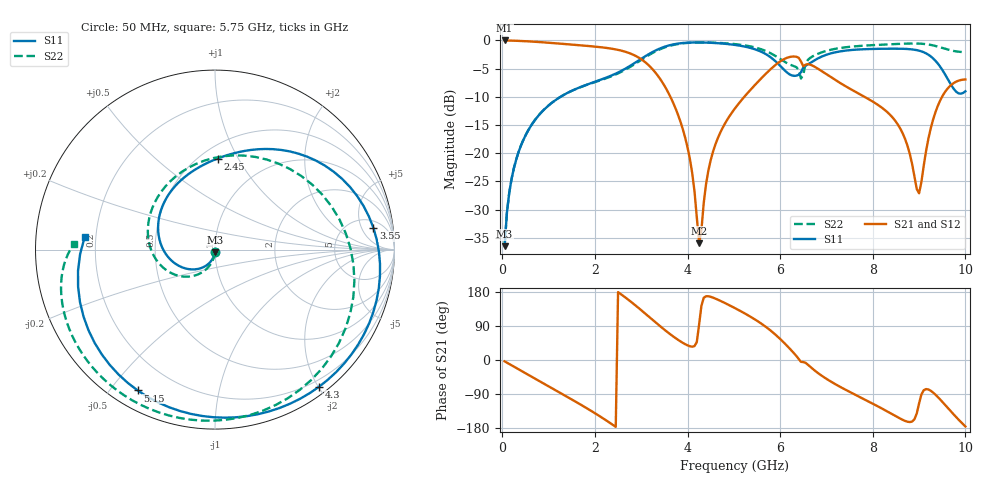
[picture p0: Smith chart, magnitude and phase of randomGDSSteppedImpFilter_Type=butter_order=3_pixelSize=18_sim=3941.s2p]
! freq	dB(S11)	phase(S11)	dB(S12)	phase(S12)
!  dB(S21)	phase(S21)	dB(S22)	phase(S22)
!S-par simulation data
#  GHz  S  DB  R 50
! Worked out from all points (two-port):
!   200 points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, 50 MHz to 10 GHz, reference 50 ohm
!   highest |S21| = -0.01 dB at 50 MHz (marker M1); lowest = -36.0 dB at 4.25 GHz (marker M2)
!   |S21| within 3 dB of the highest: start of sweep to 2.936 GHz; 6.177 GHz to 6.381 GHz (203.1 MHz wide, 3.24 % of centre)
!   lowest |S11| = -36.5 dB at 50 MHz (marker M3), VSWR 1.03, Z = 49.9 - j1.49 ohm
!   |S11| at or under -10 dB: start of sweep to 1.257 GHz
!   |S22| runs from -36.5 to -0.4 dB; largest |S21 - S12| = 0
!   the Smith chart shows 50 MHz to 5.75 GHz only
!   S11 on the Smith chart (normalised r, x): 50 MHz: 1.00, -0.03; 2.45 GHz: 0.60, +0.83; 3.55 GHz: 7, +9; 4.3 GHz: 0.11, -2.01; 5.15 GHz: 0.07, -0.59; 5.75 GHz: 0.16, +0.05
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0.05  -36.48 -93.1  -0.01 -3.6  -0.01 -3.6  -36.47 -91.9
0.5  -16.87 -131.3  -0.14 -34.8  -0.14 -34.8  -16.85 -119.2
1.75  -8.07 133.1  -0.91 -121.9  -0.91 -121.9  -8.10 161.8
2.45  -5.89 88.4  -1.59 -176.5  -1.59 -176.5  -6.04 96.8
3.4  -1.45 20.6  -6.73 90.0  -6.73 90.0  -1.59 -25.1
3.55  -1.00 7.8  -8.74 75.2  -8.74 75.2  -1.12 -42.7
4  -0.40 -29.6  -18.97 38.7  -18.97 38.7  -0.44 -86.6
4.25  -0.36 -49.1  -35.95 93.8  -35.95 93.8  -0.36 -105.6
4.3  -0.36 -52.9  -33.59 143.1  -33.59 143.1  -0.36 -109.0
5.05  -0.83 -110.3  -11.77 135.3  -11.77 135.3  -0.68 -151.3
5.15  -0.96 -118.8  -10.74 128.7  -10.74 128.7  -0.78 -156.1
5.75  -2.74 174.6  -5.44 81.9  -5.44 81.9  -2.09 177.7
6.15  -5.70 91.2  -3.08 37.3  -3.08 37.3  -4.05 169.5
6.7  -3.74 -48.9  -4.47 -23.3  -4.47 -23.3  -2.83 179.6
7.1  -2.29 -103.8  -6.54 -57.3  -6.54 -57.3  -1.64 165.3
7.65  -1.63 -158.4  -9.22 -93.4  -9.22 -93.4  -1.02 146.9
8.35  -1.47 129.2  -13.00 -138.2  -13.00 -138.2  -0.70 124.7
8.75  -1.52 73.8  -18.69 -162.9  -18.69 -162.9  -0.56 111.3
9.1  -2.10 10.1  -22.24 -79.8  -22.24 -79.8  -0.62 98.1
9.45  -4.60 -71.4  -10.74 -103.4  -10.74 -103.4  -1.21 85.0
9.7  -7.99 -144.8  -7.85 -137.3  -7.85 -137.3  -1.79 78.5
10  -9.03 112.6  -6.92 -175.3  -6.92 -175.3  -2.06 72.9
